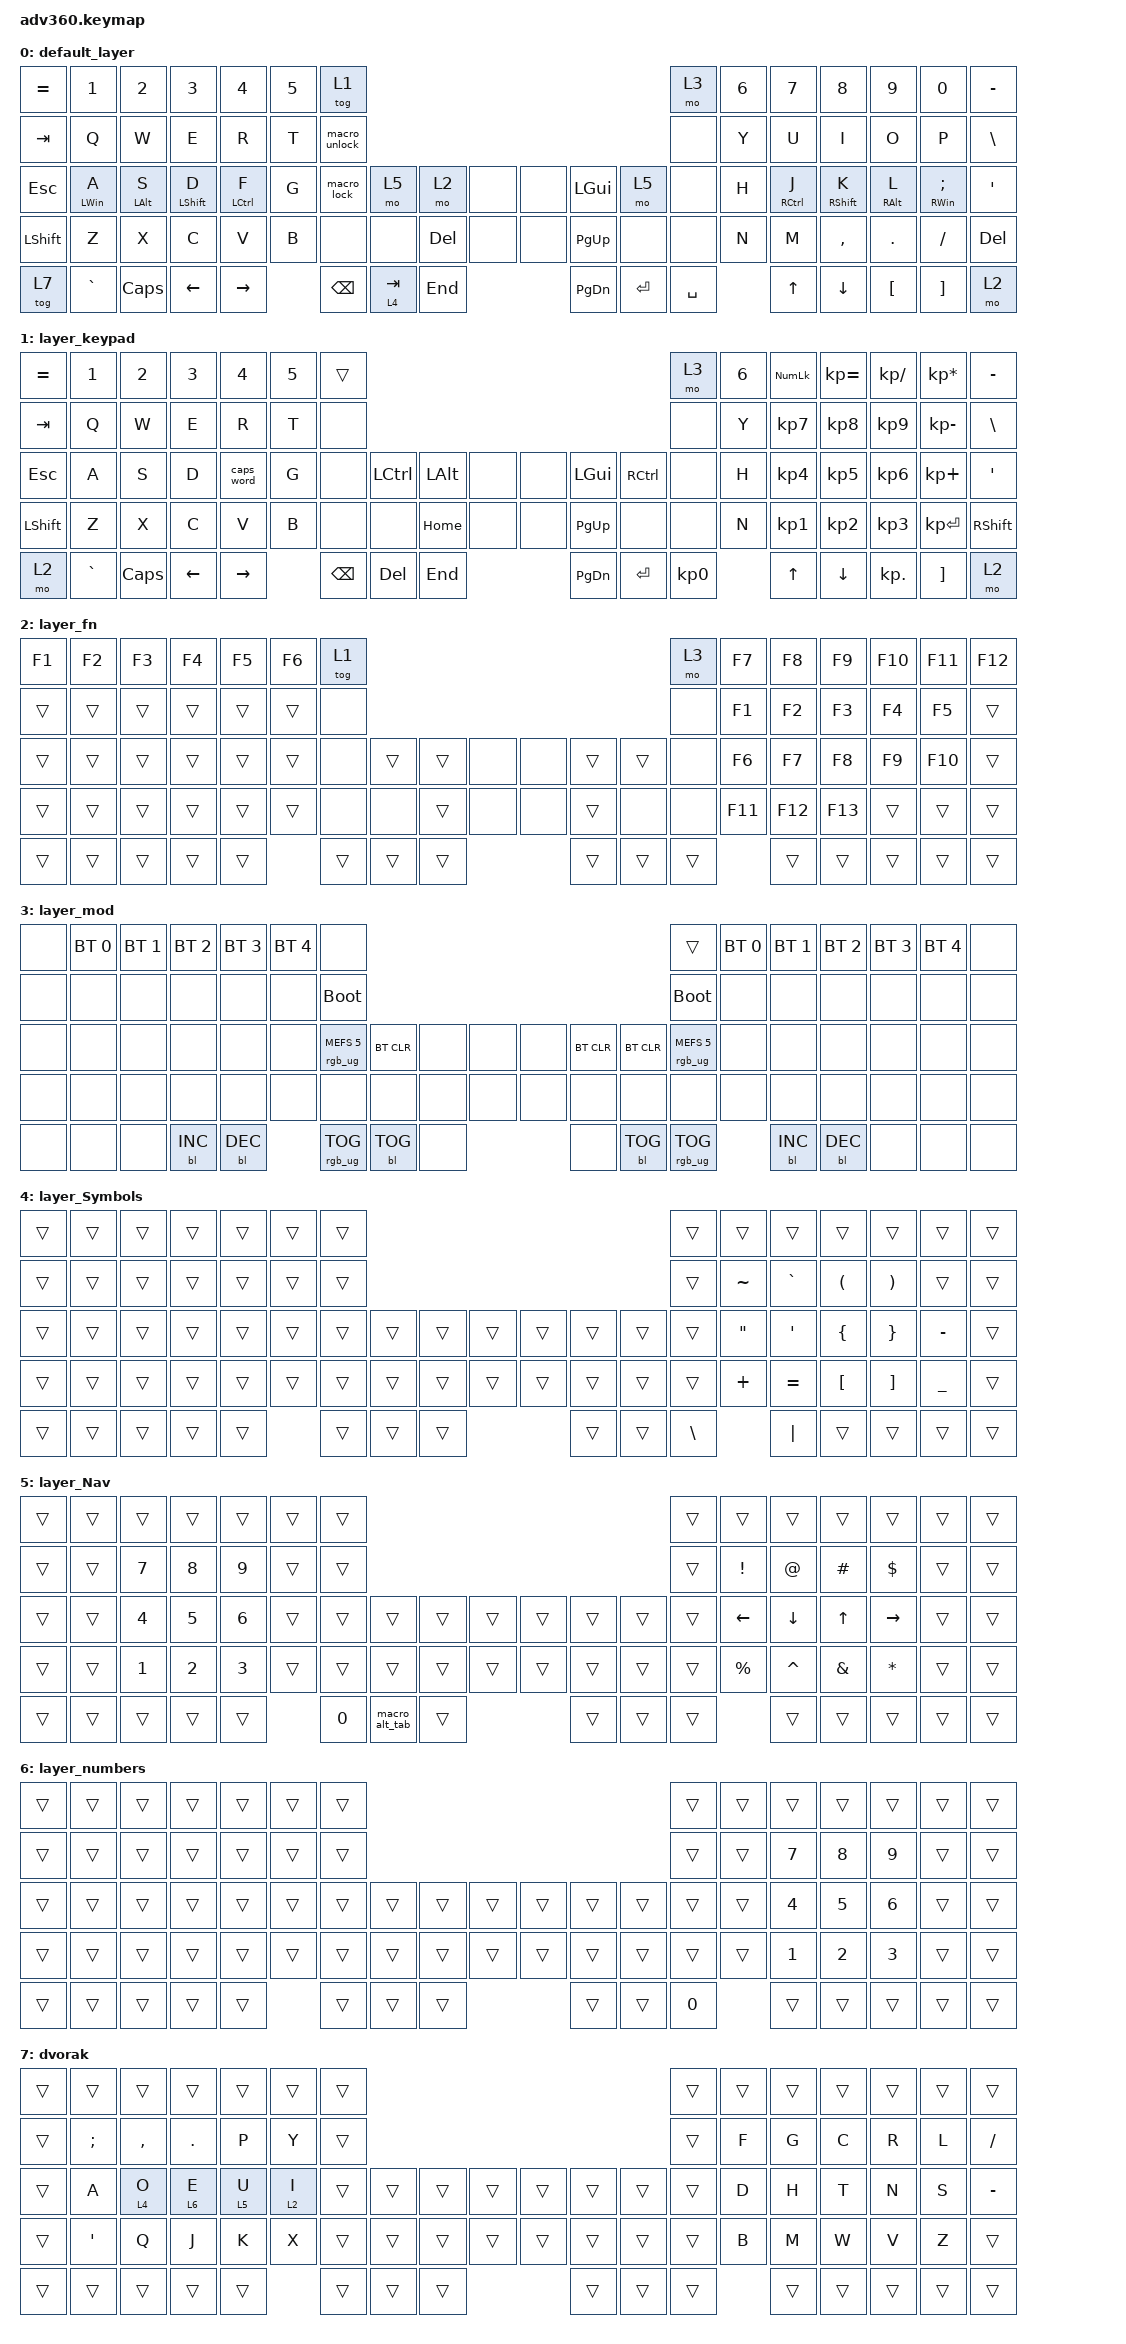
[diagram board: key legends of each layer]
/*
 * Copyright (c) 2020 The ZMK Contributors
 *
 * SPDX-License-Identifier: MIT
 */
/* THIS FILE WAS GENERATED!
 *
 * This file was generated automatically. You may or may not want to
 * edit it directly.
 */

#include <behaviors.dtsi>
#include <dt-bindings/zmk/backlight.h>
#include <dt-bindings/zmk/bt.h>
#include <dt-bindings/zmk/keys.h>
#include <dt-bindings/zmk/rgb.h>

/ {
    behaviors {
        #include "macros.dtsi"
    #include "version.dtsi"

        hm: homerow_mods {
            compatible = "zmk,behavior-hold-tap";
            label = "HOMEROW_MODS";
            #binding-cells = <2>;
            tapping-term-ms = <250>;
            quick_tap_ms = <175>;
            flavor = "tap-preferred";
            bindings = <&kp>, <&kp>;
        };
    };

    combos {
        compatible = "zmk,combos";

        bracket {
            bindings = <&kp LS(LEFT_BRACKET)>;
            key-positions = <19 22>;
        };

        minus {
            bindings = <&kp MINUS>;
            key-positions = <52 63>;
        };

        underscore {
            bindings = <&kp LS(MINUS)>;
            key-positions = <15 26>;
        };
    };

    keymap {
        compatible = "zmk,keymap";

        default_layer {
            bindings = <
&kp EQUAL   &kp N1      &kp N2          &kp N3            &kp N4       &kp N5  &tog 1                                                                    &mo 3      &kp N6  &kp N7       &kp N8             &kp N9           &kp N0              &kp MINUS
&kp TAB     &kp Q       &kp W           &kp E             &kp R        &kp T   &macro_unlock                                                             &none      &kp Y   &kp U        &kp I              &kp O            &kp P               &kp BSLH
&kp ESCAPE  &hm LWIN A  &hm LEFT_ALT S  &hm LEFT_SHIFT D  &hm LCTRL F  &kp G   &macro_lock    &mo 5      &mo 2       &none  &none  &kp LGUI   &mo 5      &none      &kp H   &hm RCTRL J  &hm RIGHT_SHIFT K  &hm RIGHT_ALT L  &hm RWIN SEMICOLON  &kp SQT
&kp LSHFT   &kp Z       &kp X           &kp C             &kp V        &kp B   &none          &none      &kp DELETE  &none  &none  &kp PG_UP  &none      &none      &kp N   &kp M        &kp COMMA          &kp DOT          &kp FSLH            &kp DEL
&tog 7      &kp GRAVE   &kp CAPS        &kp LEFT          &kp RIGHT            &kp BSPC       &lt 4 TAB  &kp END                   &kp PG_DN  &kp ENTER  &kp SPACE          &kp UP       &kp DOWN           &kp LBKT         &kp RBKT            &mo 2
            >;
        };

        layer_keypad {
            bindings = <
&kp EQUAL  &kp N1     &kp N2    &kp N3    &kp N4      &kp N5  &trans                                                             &mo 3      &kp N6  &kp KP_NUM  &kp KP_EQUAL  &kp KP_DIVIDE  &kp KP_MULTIPLY  &kp MINUS
&kp TAB    &kp Q      &kp W     &kp E     &kp R       &kp T   &none                                                              &none      &kp Y   &kp KP_N7   &kp KP_N8     &kp KP_N9      &kp KP_MINUS     &kp BSLH
&kp ESC    &kp A      &kp S     &kp D     &caps_word  &kp G   &none     &kp LCTRL  &kp LALT  &none  &none  &kp LGUI   &kp RCTRL  &none      &kp H   &kp KP_N4   &kp KP_N5     &kp KP_N6      &kp KP_PLUS      &kp SQT
&kp LSHFT  &kp Z      &kp X     &kp C     &kp V       &kp B   &none     &none      &kp HOME  &none  &none  &kp PG_UP  &none      &none      &kp N   &kp KP_N1   &kp KP_N2     &kp KP_N3      &kp KP_ENTER     &kp RSHFT
&mo 2      &kp GRAVE  &kp CAPS  &kp LEFT  &kp RIGHT           &kp BSPC  &kp DEL    &kp END                 &kp PG_DN  &kp ENTER  &kp KP_N0          &kp UP      &kp DOWN      &kp KP_DOT     &kp RBKT         &mo 2
            >;
        };

        layer_fn {
            bindings = <
&kp F1  &kp F2  &kp F3  &kp F4  &kp F5  &kp F6  &tog 1                                                &mo 3   &kp F7   &kp F8   &kp F9   &kp F10  &kp F11  &kp F12
&trans  &trans  &trans  &trans  &trans  &trans  &none                                                 &none   &kp F1   &kp F2   &kp F3   &kp F4   &kp F5   &trans
&trans  &trans  &trans  &trans  &trans  &trans  &none   &trans  &trans  &none  &none  &trans  &trans  &none   &kp F6   &kp F7   &kp F8   &kp F9   &kp F10  &trans
&trans  &trans  &trans  &trans  &trans  &trans  &none   &none   &trans  &none  &none  &trans  &none   &none   &kp F11  &kp F12  &kp F13  &trans   &trans   &trans
&trans  &trans  &trans  &trans  &trans          &trans  &trans  &trans                &trans  &trans  &trans           &trans   &trans   &trans   &trans   &trans
            >;
        };

        layer_mod {
            bindings = <
&none  &bt BT_SEL 0  &bt BT_SEL 1  &bt BT_SEL 2  &bt BT_SEL 3  &bt BT_SEL 4  &none                                                                            &trans                  &bt BT_SEL 0  &bt BT_SEL 1  &bt BT_SEL 2  &bt BT_SEL 3  &bt BT_SEL 4  &none
&none  &none         &none         &none         &none         &none         &bootloader                                                                      &bootloader             &none         &none         &none         &none         &none         &none
&none  &none         &none         &none         &none         &none         &rgb_ug RGB_MEFS_CMD 5  &bt BT_CLR  &none  &none  &none  &bt BT_CLR  &bt BT_CLR  &rgb_ug RGB_MEFS_CMD 5  &none         &none         &none         &none         &none         &none
&none  &none         &none         &none         &none         &none         &none                   &none       &none  &none  &none  &none       &none       &none                   &none         &none         &none         &none         &none         &none
&none  &none         &none         &bl BL_INC    &bl BL_DEC                  &rgb_ug RGB_TOG         &bl BL_TOG  &none                &none       &bl BL_TOG  &rgb_ug RGB_TOG                       &bl BL_INC    &bl BL_DEC    &none         &none         &none
            >;
        };

        layer_Symbols {
            bindings = <
&trans  &trans  &trans  &trans  &trans  &trans  &trans                                                  &trans         &trans             &trans            &trans                &trans                 &trans          &trans
&trans  &trans  &trans  &trans  &trans  &trans  &trans                                                  &trans         &kp TILDE          &kp GRAVE         &kp LEFT_PARENTHESIS  &kp RIGHT_PARENTHESIS  &trans          &trans
&trans  &trans  &trans  &trans  &trans  &trans  &trans  &trans  &trans  &trans  &trans  &trans  &trans  &trans         &kp DOUBLE_QUOTES  &kp SINGLE_QUOTE  &kp LEFT_BRACE        &kp RIGHT_BRACE        &kp MINUS       &trans
&trans  &trans  &trans  &trans  &trans  &trans  &trans  &trans  &trans  &trans  &trans  &trans  &trans  &trans         &kp PLUS           &kp EQUAL         &kp LEFT_BRACKET      &kp RIGHT_BRACKET      &kp UNDERSCORE  &trans
&trans  &trans  &trans  &trans  &trans          &trans  &trans  &trans                  &trans  &trans  &kp BACKSLASH                     &kp PIPE          &trans                &trans                 &trans          &trans
            >;
        };

        layer_Nav {
            bindings = <
&trans  &trans  &trans        &trans        &trans        &trans  &trans                                                          &trans  &trans          &trans          &trans         &trans           &trans  &trans
&trans  &trans  &kp N7        &kp N8        &kp N9        &trans  &trans                                                          &trans  &kp EXCL        &kp AT          &kp HASH       &kp DOLLAR       &trans  &trans
&trans  &trans  &kp NUMBER_4  &kp N5        &kp NUMBER_6  &trans  &trans  &trans          &trans  &trans  &trans  &trans  &trans  &trans  &kp LEFT_ARROW  &kp DOWN_ARROW  &kp UP_ARROW   &kp RIGHT_ARROW  &trans  &trans
&trans  &trans  &kp NUMBER_1  &kp NUMBER_2  &kp NUMBER_3  &trans  &trans  &trans          &trans  &trans  &trans  &trans  &trans  &trans  &kp PERCENT     &kp CARET       &kp AMPERSAND  &kp ASTRK        &trans  &trans
&trans  &trans  &trans        &trans        &trans                &kp N0  &macro_alt_tab  &trans                  &trans  &trans  &trans                  &trans          &trans         &trans           &trans  &trans
            >;
        };

        layer_numbers {
            bindings = <
&trans  &trans  &trans  &trans  &trans  &trans  &trans                                                  &trans        &trans  &trans        &trans        &trans        &trans  &trans
&trans  &trans  &trans  &trans  &trans  &trans  &trans                                                  &trans        &trans  &kp NUMBER_7  &kp NUMBER_8  &kp NUMBER_9  &trans  &trans
&trans  &trans  &trans  &trans  &trans  &trans  &trans  &trans  &trans  &trans  &trans  &trans  &trans  &trans        &trans  &kp NUMBER_4  &kp NUMBER_5  &kp NUMBER_6  &trans  &trans
&trans  &trans  &trans  &trans  &trans  &trans  &trans  &trans  &trans  &trans  &trans  &trans  &trans  &trans        &trans  &kp NUMBER_1  &kp NUMBER_2  &kp NUMBER_3  &trans  &trans
&trans  &trans  &trans  &trans  &trans          &trans  &trans  &trans                  &trans  &trans  &kp NUMBER_0          &trans        &trans        &trans        &trans  &trans
            >;
        };

        dvorak {
            bindings = <
&trans  &trans         &trans     &trans      &trans   &trans   &trans                                                  &trans  &trans  &trans  &trans  &trans  &trans  &trans
&trans  &kp SEMICOLON  &kp COMMA  &kp PERIOD  &kp P    &kp Y    &trans                                                  &trans  &kp F   &kp G   &kp C   &kp R   &kp L   &kp SLASH
&trans  &kp A          &lt 4 O    &lt 6 E     &lt 5 U  &lt 2 I  &trans  &trans  &trans  &trans  &trans  &trans  &trans  &trans  &kp D   &kp H   &kp T   &kp N   &kp S   &kp MINUS
&trans  &kp SQT        &kp Q      &kp J       &kp K    &kp X    &trans  &trans  &trans  &trans  &trans  &trans  &trans  &trans  &kp B   &kp M   &kp W   &kp V   &kp Z   &trans
&trans  &trans         &trans     &trans      &trans            &trans  &trans  &trans                  &trans  &trans  &trans          &trans  &trans  &trans  &trans  &trans
            >;
        };
    };
};
